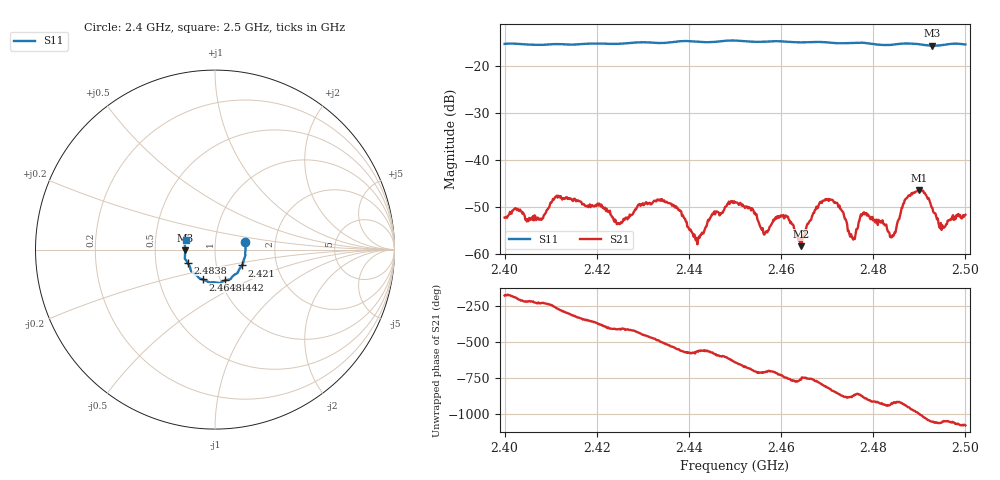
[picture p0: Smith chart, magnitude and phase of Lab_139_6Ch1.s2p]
# Hz S RI R 50
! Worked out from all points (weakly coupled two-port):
!   601 points, 2.4 GHz to 2.5 GHz, reference 50 ohm
!   highest |S21| = -46.40 dB at 2.49 GHz (marker M1); lowest = -58.4 dB at 2.4643 GHz (marker M2)
!   lowest |S11| = -15.6 dB at 2.4928 GHz (marker M3), VSWR 1.40, Z = 35.8 - j0.365 ohm
!   |S11| at or under -10 dB: start of sweep to end of sweep
!   S12 and S22 are empty: the file has one direction only
!   S11 on the Smith chart (normalised r, x): 2.4 GHz: 1.40, +0.12; 2.421 GHz: 1.33, -0.24; 2.4442 GHz: 1.05, -0.37; 2.4648 GHz: 0.83, -0.28; 2.4838 GHz: 0.73, -0.11; 2.5 GHz: 0.72, +0.08
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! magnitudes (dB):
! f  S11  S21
! 2.4 GHz  -15.2  -52.3
! 2.4167 GHz  -15.3  -49.0
! 2.421 GHz  -15.2  -49.5
! 2.4248 GHz  -15.2  -53.5
! 2.4333 GHz  -15.0  -48.4
! 2.4415 GHz  -14.7  -57.2
! 2.4442 GHz  -14.9  -52.8
! 2.45 GHz  -14.5  -49.1
! 2.4567 GHz  -14.8  -55.4
! 2.461 GHz  -14.8  -51.8
! 2.4643 GHz  -14.9  -58.4
! 2.4648 GHz  -14.9  -56.3
! 2.4667 GHz  -14.8  -52.2
! 2.4707 GHz  -15.0  -48.4
! 2.4755 GHz  -15.0  -56.7
! 2.478 GHz  -15.0  -51.2
! 2.4833 GHz  -15.5  -55.3
! 2.4838 GHz  -15.4  -56.5
! 2.49 GHz  -15.3  -46.4
! 2.4928 GHz  -15.6  -50.2
! 2.4948 GHz  -15.5  -54.9
! 2.5 GHz  -15.3  -51.7
